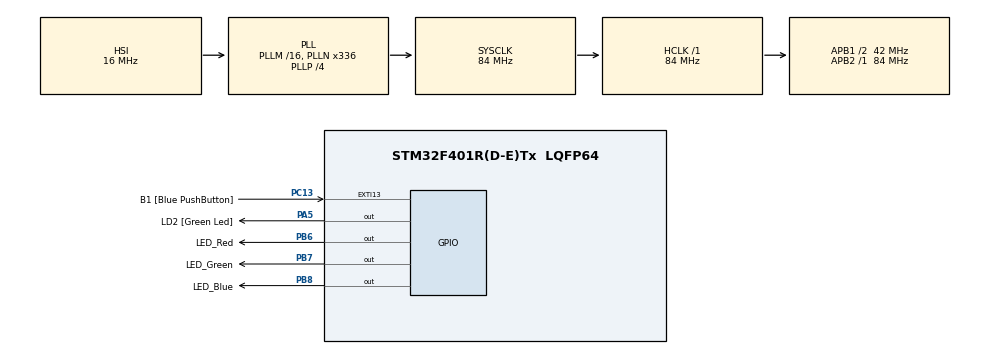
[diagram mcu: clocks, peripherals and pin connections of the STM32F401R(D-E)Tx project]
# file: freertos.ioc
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FREERTOS.Tasks01=defaultTask,0,128,StartDefaultTask,Default,NULL
Mcu.Family=STM32F4
Mcu.Name=STM32F401R(D-E)Tx
Mcu.Package=LQFP64
NVIC.PriorityGroup=NVIC_PRIORITYGROUP_4
NVIC.TIM1_TRG_COM_TIM11_IRQn=true\:0\:0\:false\:false\:true\:false\:true
NVIC.TimeBase=TIM1_TRG_COM_TIM11_IRQn
NVIC.TimeBaseIP=TIM11
PA13.GPIO_Label=TMS
PA13.Signal=SYS_JTMS-SWDIO
PA14.GPIO_Label=TCK
PA14.Signal=SYS_JTCK-SWCLK
PA2.GPIO_Label=USART_TX
PA2.GPIO_Mode=GPIO_MODE_AF_PP
PA2.GPIO_PuPd=GPIO_NOPULL
PA2.GPIO_Speed=GPIO_SPEED_FREQ_LOW
PA2.Signal=USART2_TX
PA3.GPIO_Label=USART_RX
PA3.GPIO_Mode=GPIO_MODE_AF_PP
PA3.GPIO_PuPd=GPIO_NOPULL
PA3.GPIO_Speed=GPIO_SPEED_FREQ_LOW
PA3.Signal=USART2_RX
PA5.GPIO_Label=LD2 [Green Led]
PA5.GPIO_Mode=GPIO_MODE_OUTPUT_PP
PA5.GPIO_PuPd=GPIO_NOPULL
PA5.GPIO_Speed=GPIO_SPEED_FREQ_LOW
PA5.Signal=GPIO_Output
PB3.GPIO_Label=SWO
PB3.Signal=SYS_JTDO-SWO
PB6.GPIO_Label=LED_Red
PB6.Signal=GPIO_Output
PB7.GPIO_Label=LED_Green
PB7.Signal=GPIO_Output
PB8.GPIO_Label=LED_Blue
PB8.Signal=GPIO_Output
PC13-ANTI_TAMP.GPIO_Label=B1 [Blue PushButton]
PC13-ANTI_TAMP.GPIO_ModeDefaultEXTI=GPIO_MODE_IT_FALLING
PC13-ANTI_TAMP.GPIO_PuPd=GPIO_NOPULL
PC13-ANTI_TAMP.Signal=GPXTI13
PC14-OSC32_IN.Signal=RCC_OSC32_IN
PC15-OSC32_OUT.Signal=RCC_OSC32_OUT
PH0\ -\ OSC_IN.Signal=RCC_OSC_IN
PH1\ -\ OSC_OUT.Signal=RCC_OSC_OUT
ProjectManager.HeapSize=0x200
ProjectManager.StackSize=0x400
ProjectManager.TargetToolchain=TrueSTUDIO
RCC.AHBFreq_Value=84000000
RCC.APB1CLKDivider=RCC_HCLK_DIV2
RCC.APB1Freq_Value=42000000
RCC.APB1TimFreq_Value=84000000
RCC.APB2Freq_Value=84000000
RCC.APB2TimFreq_Value=84000000
RCC.CortexFreq_Value=84000000
RCC.HCLKFreq_Value=84000000
RCC.HSE_VALUE=8000000
RCC.HSI_VALUE=16000000
RCC.LSE_VALUE=32768
RCC.PLLN=336
RCC.PLLP=RCC_PLLP_DIV4
RCC.PLLQ=7
RCC.SYSCLKFreq_VALUE=84000000
RCC.SYSCLKSource=RCC_SYSCLKSOURCE_PLLCLK
RCC.VCOOutputFreq_Value=336000000
VP_FREERTOS_VS_ENABLE.Mode=Enabled
VP_SYS_VS_tim11.Mode=TIM11
board=NUCLEO-F401RE

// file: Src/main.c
/**
 ******************************************************************************
 * File Name          : main.c
 * Description        : Main program body
 ******************************************************************************
 * This notice applies to any and all portions of this file
 * that are not between comment pairs USER CODE BEGIN and
 * USER CODE END. Other portions of this file, whether
 * inserted by the user or by software development tools
 * are owned by their respective copyright owners.
 *
 * Copyright (c) 2018 STMicroelectronics International N.V.
 * All rights reserved.
 *
 * Redistribution and use in source and binary forms, with or without
 * modification, are permitted, provided that the following conditions are met:
 *
 * 1. Redistribution of source code must retain the above copyright notice,
 *    this list of conditions and the following disclaimer.
 * 2. Redistributions in binary form must reproduce the above copyright notice,
 *    this list of conditions and the following disclaimer in the documentation
 *    and/or other materials provided with the distribution.
 * 3. Neither the name of STMicroelectronics nor the names of other
 *    contributors to this software may be used to endorse or promote products
 *    derived from this software without specific written permission.
 * 4. This software, including modifications and/or derivative works of this
 *    software, must execute solely and exclusively on microcontroller or
 *    microprocessor devices manufactured by or for STMicroelectronics.
 * 5. Redistribution and use of this software other than as permitted under
 *    this license is void and will automatically terminate your rights under
 *    this license.
 *
 * THIS SOFTWARE IS PROVIDED BY STMICROELECTRONICS AND CONTRIBUTORS "AS IS"
 * AND ANY EXPRESS, IMPLIED OR STATUTORY WARRANTIES, INCLUDING, BUT NOT
 * LIMITED TO, THE IMPLIED WARRANTIES OF MERCHANTABILITY, FITNESS FOR A
 * PARTICULAR PURPOSE AND NON-INFRINGEMENT OF THIRD PARTY INTELLECTUAL PROPERTY
 * RIGHTS ARE DISCLAIMED TO THE FULLEST EXTENT PERMITTED BY LAW. IN NO EVENT
 * SHALL STMICROELECTRONICS OR CONTRIBUTORS BE LIABLE FOR ANY DIRECT, INDIRECT,
 * INCIDENTAL, SPECIAL, EXEMPLARY, OR CONSEQUENTIAL DAMAGES (INCLUDING, BUT NOT
 * LIMITED TO, PROCUREMENT OF SUBSTITUTE GOODS OR SERVICES; LOSS OF USE, DATA,
 * OR PROFITS; OR BUSINESS INTERRUPTION) HOWEVER CAUSED AND ON ANY THEORY OF
 * LIABILITY, WHETHER IN CONTRACT, STRICT LIABILITY, OR TORT (INCLUDING
 * NEGLIGENCE OR OTHERWISE) ARISING IN ANY WAY OUT OF THE USE OF THIS SOFTWARE,
 * EVEN IF ADVISED OF THE POSSIBILITY OF SUCH DAMAGE.
 *
 ******************************************************************************
 */
#include "main.h"
#include "stm32f4xx_hal.h"
#include "cmsis_os.h"
#include "gpio.h"

/* USER CODE BEGIN Includes */
#include "semphr.h"
/* USER CODE END Includes */

/* USER CODE BEGIN PV */
/* Private variables ---------------------------------------------------------*/

/* USER CODE END PV */

void SystemClock_Config(void);
void MX_FREERTOS_Init(void);

/* USER CODE BEGIN PFP */
/* Private function prototypes -----------------------------------------------*/
void LED_Green_On(void);
void LED_Green_Off(void);
void LED_Red_On(void);
void LED_Red_Off(void);
void LED_Blue_On(void);
void LED_Blue_Off(void);
void Led_GreenBlink(void *pvParameters);
void Led_RedBlink(void *pvParameters);
void Led_BlueBlink(void *pvParameters);
void DelayNonsens(uint32_t *DelayCounter, uint32_t const * TaretCount);
/* USER CODE END PFP */

/* USER CODE BEGIN 0 */
SemaphoreHandle_t semaphoreToBlue;
SemaphoreHandle_t semaphoreToGreen;

void Led_GreenBlink(void *pvParameters) {
	const TickType_t xDelay = 150 / portTICK_PERIOD_MS;
	uint32_t GreenDelay = 0;
	const uint32_t TargetCount = 200000;
	xSemaphoreGive(semaphoreToGreen);
	for (;;) {
		for (int var = 0; var < 10; var++) {
			vTaskDelay(xDelay);
		}

		if (xSemaphoreTake(semaphoreToGreen, (TickType_t ) 10) == pdTRUE) {
			LED_Green_On();
			for (int var = 0; var < 10; var++) {
				DelayNonsens(&GreenDelay, &TargetCount);
			}
			xSemaphoreGive(semaphoreToBlue);
			LED_Green_Off();
		}
	}
}

void Led_RedBlink(void *pvParameters) {
	const TickType_t xDelay = 200 / portTICK_PERIOD_MS;
	uint32_t RedDelay = 0;
	const uint32_t TargetCount = 200000;

	for (;;) {
		for (int var = 0; var < 10; var++) {
			vTaskDelay(xDelay);
		}
//		vTaskDelay(xDelay);
		LED_Red_On();
		for (int var = 0; var < 10; var++) {
			DelayNonsens(&RedDelay, &TargetCount);
		}
		LED_Red_Off();
	}
}

void Led_BlueBlink(void *pvParameters) {
	const TickType_t xDelay = 300 / portTICK_PERIOD_MS;
	uint32_t BlueDelay = 0;
	const uint32_t TargetCount = 200000;

	for (;;) {
		for (int var = 0; var < 10; var++) {
			vTaskDelay(xDelay);
		}
		if (xSemaphoreTake(semaphoreToBlue, (TickType_t ) 10) == pdTRUE) {
			LED_Blue_On();
			for (int var = 0; var < 10; var++) {
				DelayNonsens(&BlueDelay, &TargetCount);
			}
			xSemaphoreGive(semaphoreToGreen);
			LED_Blue_Off();
		}
	}

}

void DelayNonsens(uint32_t *DelayCounter, uint32_t const * TaretCount) {
	while (*DelayCounter <= *TaretCount) {
		*DelayCounter = *DelayCounter + 1;
	}

	*DelayCounter = 0;
}
/* USER CODE END 0 */

int main(void) {

	/* MCU Configuration----------------------------------------------------------*/

	/* Reset of all peripherals, Initializes the Flash interface and the Systick. */
	HAL_Init();

	/* Configure the system clock */
	SystemClock_Config();

	/* Initialize all configured peripherals */
	MX_GPIO_Init();

	/* USER CODE BEGIN 2 */
	LED_Green_Off();
	LED_Red_Off();
	LED_Blue_Off();

	xTaskCreate(Led_GreenBlink, (const char* const ) "led green",
	configMINIMAL_STACK_SIZE, 0, 1, 0);
	xTaskCreate(Led_RedBlink, (const char* const ) "led red",
	configMINIMAL_STACK_SIZE, 0, 2, 0);
	xTaskCreate(Led_BlueBlink, (const char* const ) "led blue",
	configMINIMAL_STACK_SIZE, 0, 3, 0);

	semaphoreToBlue = xSemaphoreCreateBinary();
	semaphoreToGreen = xSemaphoreCreateBinary();

	if (semaphoreToBlue == NULL) {

	} else {

	}
	/* USER CODE END 2 */

	/* Call init function for freertos objects (in freertos.c) */
	MX_FREERTOS_Init();

	/* Start scheduler */
	osKernelStart();

	/* We should never get here as control is now taken by the scheduler */

	/* Infinite loop */
	/* USER CODE BEGIN WHILE */

//#ifdef PEX_RTOS_START
//	PEX_RTOS_START();
//#endif
	while (1) {
		/* USER CODE END WHILE */

	}

}

/** System Clock Configuration
 */
void SystemClock_Config(void) {

	RCC_OscInitTypeDef RCC_OscInitStruct;
	RCC_ClkInitTypeDef RCC_ClkInitStruct;

	/**Configure the main internal regulator output voltage
	 */
	__HAL_RCC_PWR_CLK_ENABLE()
	;

	__HAL_PWR_VOLTAGESCALING_CONFIG(PWR_REGULATOR_VOLTAGE_SCALE2);

	/**Initializes the CPU, AHB and APB busses clocks
	 */
	RCC_OscInitStruct.OscillatorType = RCC_OSCILLATORTYPE_HSI;
	RCC_OscInitStruct.HSIState = RCC_HSI_ON;
	RCC_OscInitStruct.HSICalibrationValue = 16;
	RCC_OscInitStruct.PLL.PLLState = RCC_PLL_ON;
	RCC_OscInitStruct.PLL.PLLSource = RCC_PLLSOURCE_HSI;
	RCC_OscInitStruct.PLL.PLLM = 16;
	RCC_OscInitStruct.PLL.PLLN = 336;
	RCC_OscInitStruct.PLL.PLLP = RCC_PLLP_DIV4;
	RCC_OscInitStruct.PLL.PLLQ = 7;
	if (HAL_RCC_OscConfig(&RCC_OscInitStruct) != HAL_OK) {
		_Error_Handler(__FILE__, __LINE__);
	}

	/**Initializes the CPU, AHB and APB busses clocks
	 */
	RCC_ClkInitStruct.ClockType = RCC_CLOCKTYPE_HCLK | RCC_CLOCKTYPE_SYSCLK
			| RCC_CLOCKTYPE_PCLK1 | RCC_CLOCKTYPE_PCLK2;
	RCC_ClkInitStruct.SYSCLKSource = RCC_SYSCLKSOURCE_PLLCLK;
	RCC_ClkInitStruct.AHBCLKDivider = RCC_SYSCLK_DIV1;
	RCC_ClkInitStruct.APB1CLKDivider = RCC_HCLK_DIV2;
	RCC_ClkInitStruct.APB2CLKDivider = RCC_HCLK_DIV1;

	if (HAL_RCC_ClockConfig(&RCC_ClkInitStruct, FLASH_LATENCY_2) != HAL_OK) {
		_Error_Handler(__FILE__, __LINE__);
	}

	/**Configure the Systick interrupt time
	 */
	HAL_SYSTICK_Config(HAL_RCC_GetHCLKFreq() / 1000);

	/**Configure the Systick
	 */
	HAL_SYSTICK_CLKSourceConfig(SYSTICK_CLKSOURCE_HCLK);

	/* SysTick_IRQn interrupt configuration */
	HAL_NVIC_SetPriority(SysTick_IRQn, 15, 0);
}

/* USER CODE BEGIN 4 */
void LED_Green_On(void) {
//	LED_Red_Off();
//	LED_Blue_Off();
	HAL_GPIO_WritePin(LED_Green_GPIO_Port, LED_Green_Pin, GPIO_PIN_RESET);
}
void LED_Green_Off(void) {
	HAL_GPIO_WritePin(LED_Green_GPIO_Port, LED_Green_Pin, GPIO_PIN_SET);
}
void LED_Red_On(void) {
//	LED_Green_Off();
//	LED_Blue_Off();
	HAL_GPIO_WritePin(LED_Red_GPIO_Port, LED_Red_Pin, GPIO_PIN_RESET);
}
void LED_Red_Off(void) {
	HAL_GPIO_WritePin(LED_Red_GPIO_Port, LED_Red_Pin, GPIO_PIN_SET);
}
void LED_Blue_On(void) {
//	LED_Green_Off();
//	LED_Red_Off();
	HAL_GPIO_WritePin(LED_Blue_GPIO_Port, LED_Blue_Pin, GPIO_PIN_RESET);
}
void LED_Blue_Off(void) {
	HAL_GPIO_WritePin(LED_Blue_GPIO_Port, LED_Blue_Pin, GPIO_PIN_SET);
}
/* USER CODE END 4 */

void HAL_TIM_PeriodElapsedCallback(TIM_HandleTypeDef *htim) {
	if (htim->Instance == TIM11) {
		HAL_IncTick();
	}
}

void _Error_Handler(char * file, int line) {
	while (1) {
	}
}

/************************ (C) COPYRIGHT STMicroelectronics *****END OF FILE****/
